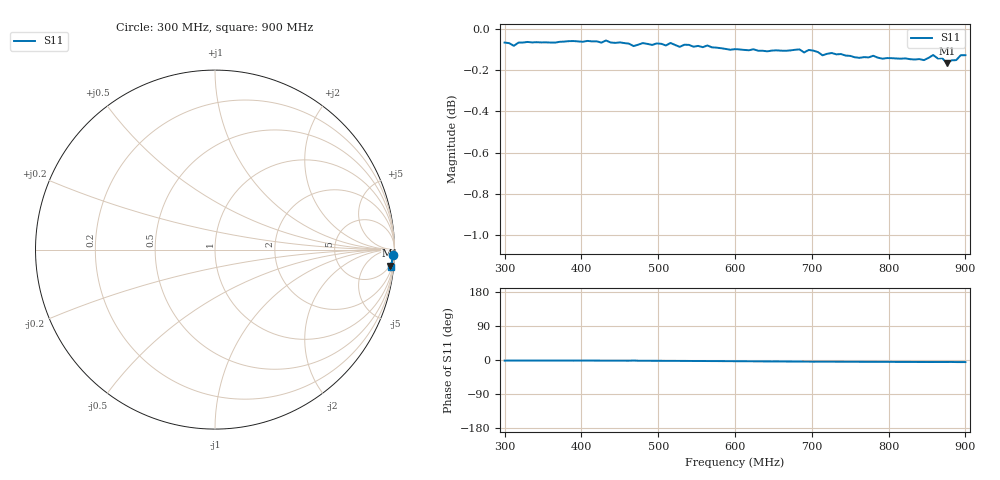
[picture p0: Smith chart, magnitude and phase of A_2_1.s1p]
# HZ S RI R 50
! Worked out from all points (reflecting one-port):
!   101 points, 300 MHz to 900 MHz, reference 50 ohm
!   lowest |S11| = -0.2 dB at 876 MHz (marker M1), VSWR 104.50, Z = 220 - j1.05e+03 ohm
!   phase of S11 starts at -2 deg and turns -4 deg over the sweep
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3e8  0.9922 -0.0274
3.12e8  0.9904 -0.0268
3.18e8  0.9921 -0.0271
3.3e8  0.9926 -0.0252
3.36e8  0.9923 -0.0273
3.78e8  0.9928 -0.0265
4.5e8  0.9922 -0.0305
4.62e8  0.9914 -0.032
4.68e8  0.9903 -0.0241
4.74e8  0.9908 -0.0331
5.16e8  0.9916 -0.0387
5.28e8  0.9893 -0.0408
6e8  0.9874 -0.0545
6.48e8  0.9858 -0.0667
6.54e8  0.9862 -0.0644
6.78e8  0.986 -0.0713
6.96e8  0.9858 -0.0725
7.02e8  0.985 -0.078
7.08e8  0.9844 -0.075
7.14e8  0.9826 -0.0756
7.5e8  0.9819 -0.08
8.28e8  0.9795 -0.0873
8.46e8  0.9787 -0.0897
8.58e8  0.9814 -0.0915
8.76e8  0.977 -0.0895
8.82e8  0.9787 -0.0893
8.94e8  0.9809 -0.0955
9e8  0.981 -0.0943
